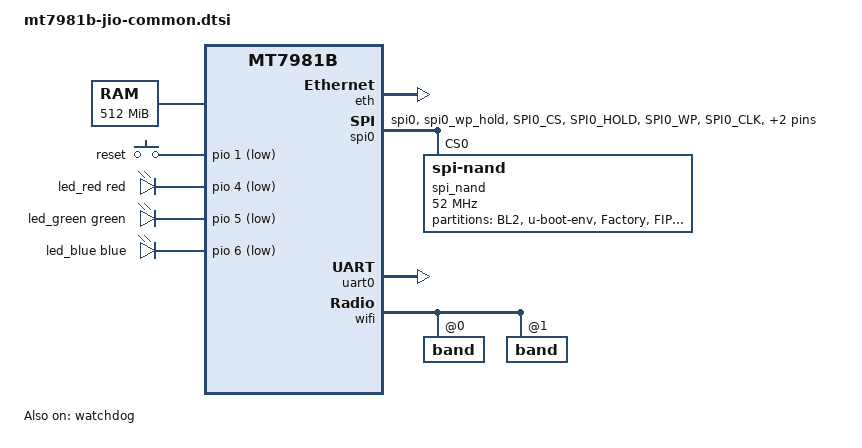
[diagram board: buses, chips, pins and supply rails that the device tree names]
// SPDX-License-Identifier: (GPL-2.0 OR MIT)

#include <dt-bindings/gpio/gpio.h>
#include <dt-bindings/input/input.h>
#include <dt-bindings/leds/common.h>
#include <dt-bindings/pinctrl/mt65xx.h>

#include "mt7981b.dtsi"

/ {
	aliases {
		serial0 = &uart0;
		led-boot = &led_red;
		led-failsafe = &led_red;
		led-running = &led_red;
		led-upgrade = &led_blue;
	};

	chosen {
		stdout-path = "serial0:115200n8";
		bootargs = "dm-mod.create=''";
	};

	memory@40000000 {
		reg = <0x00 0x40000000 0x00 0x20000000>;
		device_type = "memory";
	};

	gpio-keys {
		compatible = "gpio-keys";

		button-reset {
			label = "reset";
			linux,code = <KEY_RESTART>;
			gpios = <&pio 1 GPIO_ACTIVE_LOW>;
		};
	};

	leds {
		compatible = "gpio-leds";

		led_red: led-red {
			color = <LED_COLOR_ID_RED>;
			function = LED_FUNCTION_STATUS;
			gpios = <&pio 4 GPIO_ACTIVE_LOW>;
			default-state = "on";
		};

		led_green: led-green {
			color = <LED_COLOR_ID_GREEN>;
			function = LED_FUNCTION_STATUS;
			gpios = <&pio 5 GPIO_ACTIVE_LOW>;
		};

		led_blue: led-blue {
			color = <LED_COLOR_ID_BLUE>;
			function = LED_FUNCTION_STATUS;
			gpios = <&pio 6 GPIO_ACTIVE_LOW>;
		};
	};
};

&eth {
	pinctrl-names = "default";
	pinctrl-0 = <&mdio_pins>;
	status = "okay";
};

&pio {
	spi0_flash_pins: spi0-pins {
		mux {
			function = "spi";
			groups = "spi0", "spi0_wp_hold";
		};

		conf-pu {
			pins = "SPI0_CS", "SPI0_HOLD", "SPI0_WP";
			drive-strength = <MTK_DRIVE_8mA>;
			bias-pull-up = <MTK_PUPD_SET_R1R0_11>;
		};

		conf-pd {
			pins = "SPI0_CLK", "SPI0_MOSI", "SPI0_MISO";
			drive-strength = <MTK_DRIVE_8mA>;
			bias-pull-down = <MTK_PUPD_SET_R1R0_11>;
		};
	};
};

&spi0 {
	pinctrl-names = "default";
	pinctrl-0 = <&spi0_flash_pins>;
	status = "okay";

	spi_nand: flash@0 {
		compatible = "spi-nand";
		reg = <0>;

		spi-max-frequency = <52000000>;
		spi-tx-bus-width = <4>;
		spi-rx-bus-width = <4>;

		mediatek,nmbm;
		mediatek,bmt-max-ratio = <1>;
		mediatek,bmt-max-reserved-blocks = <64>;

		partitions {
			compatible = "fixed-partitions";
			#address-cells = <1>;
			#size-cells = <1>;

			partition@0 {
				label = "BL2";
				reg = <0x000000 0x100000>;
				read-only;
			};

			partition@100000 {
				label = "u-boot-env";
				reg = <0x100000 0x80000>;
				read-only;
			};

			partition@180000 {
				label = "Factory";
				reg = <0x180000 0x200000>;
				read-only;

				nvmem-layout {
					compatible = "fixed-layout";
					#address-cells = <1>;
					#size-cells = <1>;

					eeprom_factory_0: eeprom@0 {
						reg = <0x0 0x1000>;
					};
				};
			};

			partition@380000 {
				label = "FIP";
				reg = <0x380000 0x200000>;
				read-only;
			};

			partition@580000 {
				label = "ubi";
				reg = <0x580000 0x8c00000>;
			};

			partition@9180000 {
				label = "ubi2";
				reg = <0x9180000 0x5800000>;
			};

			partition@e980000 {
				label = "BDF";
				reg = <0xe980000 0x200000>;
				read-only;
			};

			partition@eb80000 {
				label = "MFG";
				reg = <0xeb80000 0x200000>;
				read-only;

				nvmem-layout {
					compatible = "fixed-layout";
					#address-cells = <1>;
					#size-cells = <1>;

					mfg_mac: macaddr@0 {
						compatible = "mac-base";
						reg = <0x0 0x6>;
						#nvmem-cell-cells = <1>;
					};
				};
			};

			partition@ed80000 {
				label = "Jio-Reserved";
				reg = <0xed80000 0x200000>;
				read-only;
			};
		};
	};
};

&uart0 {
	status = "okay";
};

&watchdog {
	status = "okay";
};

&wifi {
	#address-cells = <1>;
	#size-cells = <0>;
	nvmem-cells = <&eeprom_factory_0>;
	nvmem-cell-names = "eeprom";
	status = "okay";

	band@0 {
		reg = <0>;
		nvmem-cells = <&mfg_mac 2>;
		nvmem-cell-names = "mac-address";
	};

	band@1 {
		reg = <1>;
		nvmem-cells = <&mfg_mac 3>;
		nvmem-cell-names = "mac-address";
	};
};
